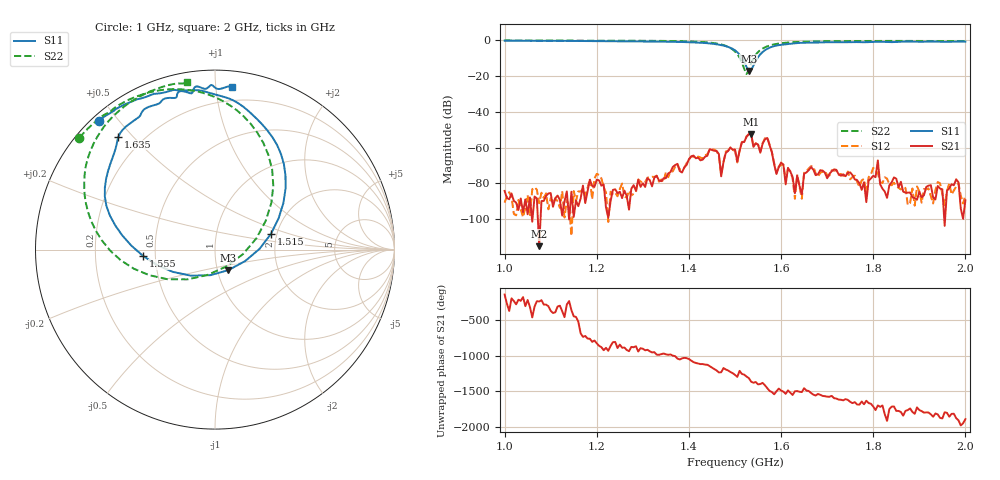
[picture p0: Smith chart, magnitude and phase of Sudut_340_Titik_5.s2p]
# Hz S RI R 50
! CMT, C1220, 16058040, 17.2.0/1
! Date: 14/08/2018 11:51:42
! Data: Format (Calibration Info)
! Freq  S11: Re/Im (F2)  S21: Re/Im (F2)  S12: Re/Im (F2)  S22: Re/Im (F2)
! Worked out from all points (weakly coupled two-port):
!   201 points, 1 GHz to 2 GHz, reference 50 ohm
!   highest |S21| = -52.49 dB at 1.535 GHz (marker M1); lowest = -115.0 dB at 1.075 GHz (marker M2)
!   lowest |S11| = -17.3 dB at 1.53 GHz (marker M3), VSWR 1.32, Z = 56.5 - j13.1 ohm
!   |S11| at or under -10 dB: 1.515 GHz to 1.549 GHz (33.37 MHz wide, 2.18 % of centre)
!   |S22| runs from -18.9 to -0.2 dB; largest |S21 - S12| = 0.00025
!   S11 on the Smith chart (normalised r, x): 1 GHz: 0.02, +0.44; 1.515 GHz: 1.86, +0.36; 1.555 GHz: 0.43, -0.03; 1.635 GHz: 0.11, +0.46; 2 GHz: 0.11, +1.11
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1e9  -0.6484 0.7152  -4.73e-05 -3.99e-05  2.92e-05 -2.86e-07  -0.7555 0.6236
1.075e9  -0.5647 0.7726  -9.42e-07 1.51e-06  1.94e-05 2.03e-05  -0.7025 0.6797
1.17e9  -0.4704 0.8224  8.47e-05 -2.13e-05  4.83e-05 -5.23e-05  -0.6188 0.75
1.335e9  -0.2072 0.8875  -7.14e-06 0.000121  -3.19e-05 0.000107  -0.4017 0.8656
1.445e9  0.1592 0.7945  0.000363 -0.000831  0.000277 -0.000837  -0.0105 0.8538
1.465e9  0.2616 0.6991  -0.000595 -0.000288  -0.000544 -0.000212  0.1248 0.7736
1.47e9  0.2912 0.6649  -0.000139 -7.37e-05  -0.000154 -9.24e-05  0.1615 0.7406
1.48e9  0.3462 0.5821  -0.00028 -0.000659  -0.000293 -0.000723  0.2359 0.6515
1.5e9  0.3931 0.3398  -0.000877 0.000135  -0.000805 0.000123  0.3249 0.356
1.515e9  0.3108 0.0859  -0.00141 -9.48e-05  -0.00143 -0.0002  0.2308 0.063
1.53e9  0.0752 -0.1142  -0.0014 0.00191  -0.0014 0.00191  -0.0426 -0.1416
1.535e9  -0.0261 -0.1426  0.000587 0.0023  0.000674 0.00231  -0.1539 -0.166
1.555e9  -0.4023 -0.034  0.000526 0.000492  0.000575 0.000524  -0.5252 -0.0591
1.57e9  -0.5563 0.1355  0.0018 -0.000455  0.00189 -0.000471  -0.6638 0.1047
1.59e9  -0.6135 0.3465  9.26e-05 -0.000159  0.000106 -0.000161  -0.7257 0.2991
1.635e9  -0.5377 0.6297  9.18e-05 -0.000136  8.27e-05 -0.000158  -0.689 0.562
1.67e9  -0.4333 0.731  -6.66e-05 -0.000233  -3.65e-05 -0.000294  -0.6281 0.6711
1.785e9  -0.215 0.8482  -2.94e-05 6.44e-06  -4.16e-05 3.72e-05  -0.4474 0.8366
1.81e9  -0.1971 0.8816  -9.31e-05 0.000429  -7.54e-05 0.000176  -0.4118 0.8568
1.815e9  -0.1869 0.8833  1.36e-05 9.38e-05  0.000107 2.45e-05  -0.4048 0.8606
1.835e9  -0.1387 0.8712  5.55e-05 6.97e-05  -4.83e-05 7.98e-05  -0.3784 0.8737
2e9  0.0959 0.9039  -1.15e-07 -3.4e-05  2.33e-05 -4.13e-05  -0.1533 0.9338
